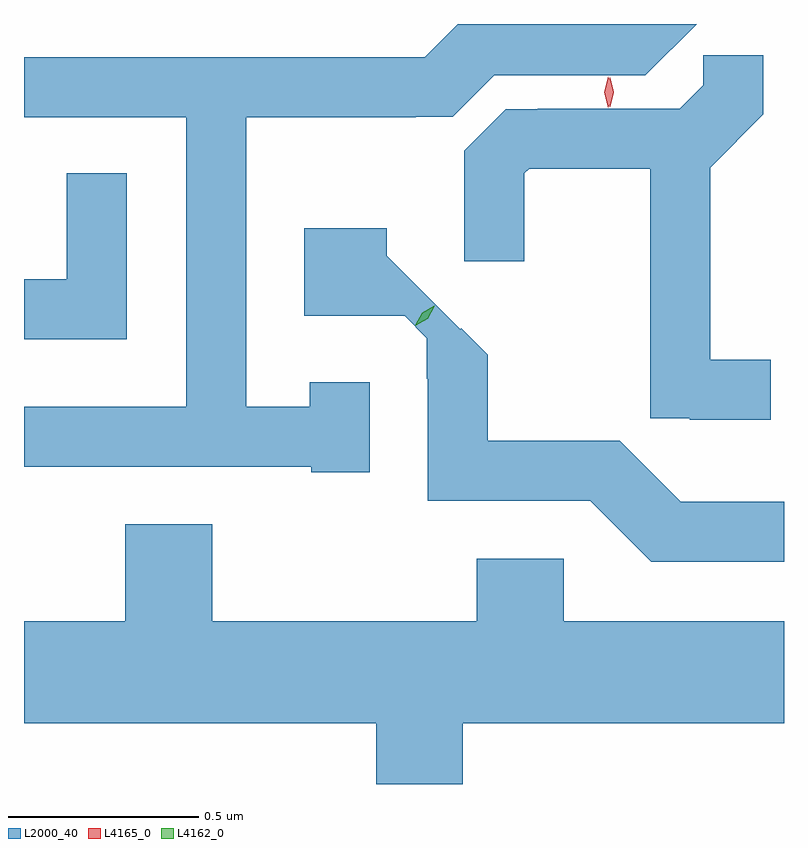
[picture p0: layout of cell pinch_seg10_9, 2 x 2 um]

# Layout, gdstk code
import gdstk
lib = gdstk.Library(unit=1e-6, precision=1e-09)
def P(c, l, *ps):  # polygons
    for p in ps: c.add(gdstk.Polygon(p, *l))
L2000_40 = (2000, 40)
L4162_0 = (4162, 0)
L4165_0 = (4165, 0)

pinch_seg10_9 = lib.new_cell('pinch_seg10_9')
P(pinch_seg10_9, L2000_40, [(849.944,2143.673),(849.786,2143.673),(849.786,2143.609),(849.619,2143.609),(849.619,2144.371),(850.065,2144.371),(850.065,2144.372),(850.162,2144.372),(850.271,2144.481),(850.669,2144.481),(850.804,2144.616),(850.176,2144.616),(850.089,2144.529),(849.034,2144.529),(849.034,2144.371),(849.461,2144.371),(849.461,2143.609),(849.034,2143.609),(849.034,2143.451),(849.79,2143.451),(849.79,2143.436),(849.944,2143.436)],
  [(850.999,2143.733),(850.84,2143.733),(850.84,2144.238),(850.98,2144.378),(850.98,2144.534),(850.821,2144.534),(850.821,2144.455),(850.76,2144.393),(850.386,2144.393),(850.386,2144.392),(850.302,2144.392),(850.192,2144.282),(850.192,2143.992),(850.35,2143.992),(850.35,2144.223),(850.363,2144.235),(850.682,2144.235),(850.682,2143.579),(850.786,2143.579),(850.786,2143.575),(850.999,2143.575)],
  [(849.304,2144.223),(849.146,2144.223),(849.146,2143.944),(849.034,2143.944),(849.034,2143.786),(849.304,2143.786)],
  [(851.034,2143.359),(850.762,2143.359),(850.602,2143.519),(850.254,2143.519),(850.254,2143.745),(850.184,2143.815),(850.182,2143.813),(849.989,2144.006),(849.989,2144.079),(849.771,2144.079),(849.771,2143.848),(850.036,2143.848),(850.094,2143.789),(850.094,2143.683),(850.096,2143.683),(850.096,2143.361),(850.524,2143.361),(850.684,2143.201),(851.034,2143.201)],
  [(850.189,2142.776),(851.034,2142.776),(851.034,2143.044),(850.454,2143.044),(850.454,2143.209),(850.226,2143.209),(850.226,2143.044),(849.529,2143.044),(849.529,2143.299),(849.301,2143.299),(849.301,2143.044),(849.034,2143.044),(849.034,2142.776),(849.961,2142.776),(849.961,2142.616),(850.189,2142.616)])
P(pinch_seg10_9, L4162_0, [(850.063,2143.822),(850.063,2143.823),(850.082,2143.856),(850.114,2143.875),(850.115,2143.875),(850.115,2143.874),(850.096,2143.841),(850.064,2143.822)],
  [(850.07,2143.826),(850.07,2143.826),(850.083,2143.854),(850.11,2143.869),(850.111,2143.869),(850.111,2143.868),(850.097,2143.84),(850.07,2143.826)])
P(pinch_seg10_9, L4165_0, [(850.571,2144.396),(850.571,2144.396),(850.561,2144.436),(850.571,2144.477),(850.571,2144.477),(850.572,2144.477),(850.581,2144.436),(850.572,2144.396)],
  [(850.576,2144.398),(850.576,2144.398),(850.566,2144.436),(850.576,2144.475),(850.576,2144.475),(850.577,2144.475),(850.586,2144.436),(850.577,2144.398)])

lib.write_gds('pinch_seg10_9.gds')
